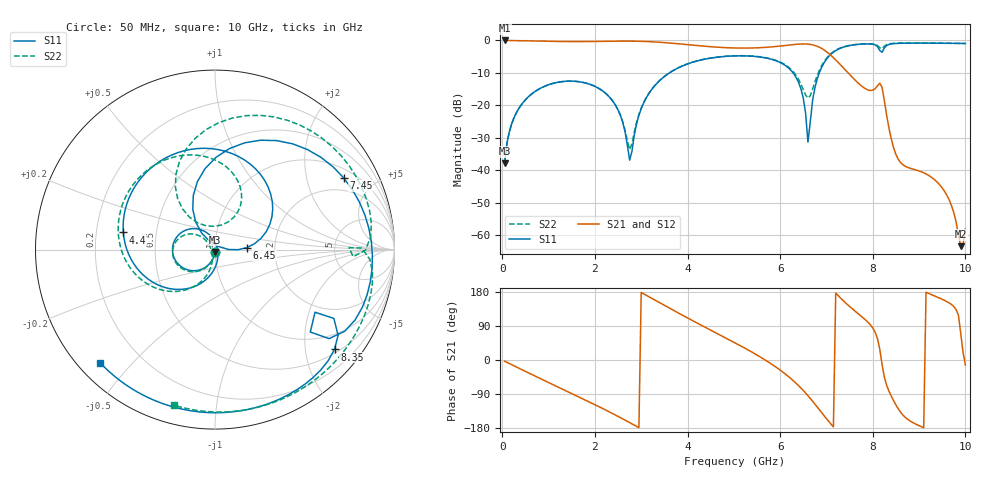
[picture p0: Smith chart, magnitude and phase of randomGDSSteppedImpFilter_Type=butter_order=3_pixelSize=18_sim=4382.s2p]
! freq	dB(S11)	phase(S11)	dB(S12)	phase(S12)
!  dB(S21)	phase(S21)	dB(S22)	phase(S22)
!S-par simulation data
#  GHz  S  DB  R 50
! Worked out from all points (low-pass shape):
!   200 points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, 50 MHz to 10 GHz, reference 50 ohm
!   highest |S21| = -0.01 dB at 50 MHz (marker M1); lowest = -63.3 dB at 9.9 GHz (marker M2)
!   |S21| within 3 dB of the highest: start of sweep to 6.956 GHz
!   lowest |S11| = -37.8 dB at 50 MHz (marker M3), VSWR 1.03, Z = 49.9 - j1.29 ohm
!   |S11| at or under -10 dB: start of sweep to 3.608 GHz; 6.279 GHz to 6.845 GHz (565.7 MHz wide, 8.62 % of centre)
!   |S22| runs from -37.6 to -0.8 dB; largest |S21 - S12| = 0
!   S11 on the Smith chart (normalised r, x): 50 MHz: 1.00, -0.03; 4.4 GHz: 0.32, +0.08; 6.45 GHz: 1.43, +0.03; 7.45 GHz: 1.36, +3.32; 8.35 GHz: 0.59, -2.64; 10 GHz: 0.06, -0.41
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0.05  -37.80 -92.1  -0.01 -3.1  -0.01 -3.1  -37.63 -92.3
0.2  -25.76 -102.6  -0.03 -12.1  -0.03 -12.1  -25.76 -101.8
0.5  -18.25 -121.4  -0.11 -30.1  -0.11 -30.1  -18.25 -119.7
1.75  -12.93 162.7  -0.35 -102.9  -0.35 -102.9  -12.93 170.7
2.45  -20.07 114.2  -0.22 -145.6  -0.22 -145.6  -20.02 136.5
2.75  -36.82 24.7  -0.21 -165.2  -0.21 -165.2  -33.55 -171.0
3  -21.00 -86.9  -0.27 178.1  -0.27 178.1  -20.78 -102.9
3.4  -12.33 -120.4  -0.55 150.9  -0.55 150.9  -12.27 -120.7
4.4  -5.69 169.4  -1.82 85.2  -1.82 85.2  -5.65 -179.8
5.05  -4.74 125.1  -2.33 43.8  -2.33 43.8  -4.70 142.6
5.9  -6.20 59.0  -1.88 -17.9  -1.88 -17.9  -6.09 89.1
6.45  -14.97 3.6  -1.10 -74.1  -1.10 -74.1  -13.48 59.5
6.6  -31.29 37.7  -1.13 -94.1  -1.13 -94.1  -17.76 91.0
6.7  -18.50 128.9  -1.35 -108.6  -1.35 -108.6  -14.97 123.1
7.1  -4.19 74.5  -4.63 -169.5  -4.63 -169.5  -4.02 100.1
7.45  -1.72 29.2  -9.71 146.6  -9.71 146.6  -1.66 60.8
8.15  -3.07 -40.9  -13.15 29.4  -13.15 29.4  -2.26 -3.0
8.35  -1.23 -39.9  -27.02 -82.3  -27.02 -82.3  -1.05 -8.1
8.6  -0.87 -59.7  -37.55 -137.7  -37.55 -137.7  -0.80 -27.1
9.55  -0.87 -113.9  -46.42 157.2  -46.42 157.2  -0.84 -82.9
9.9  -0.92 -130.7  -63.30 68.7  -63.30 68.7  -0.92 -100.2
10  -0.93 -135.4  -58.07 -13.0  -58.07 -13.0  -0.95 -104.9
